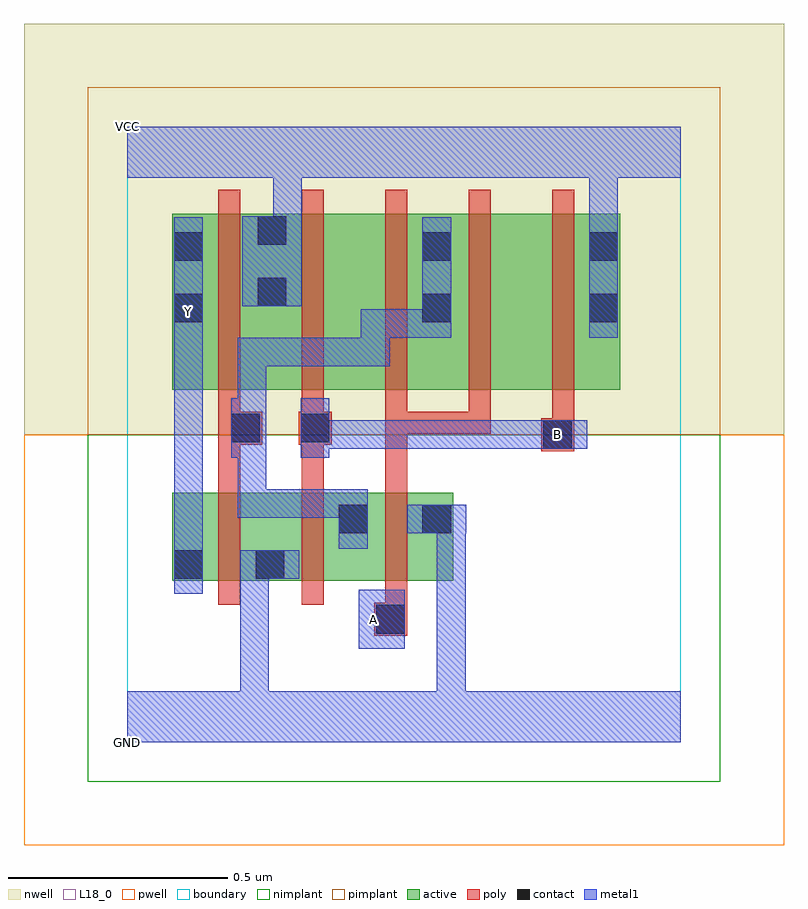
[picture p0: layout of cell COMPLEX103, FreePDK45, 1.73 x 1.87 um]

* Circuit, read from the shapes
.subckt COMPLEX103 A B GND VCC Y
M1 GND n1 Y VSUBS nfet w=0.2u l=0.05u
M2 n1 B GND VSUBS nfet w=0.2u l=0.05u
M3 GND A n1 VSUBS nfet w=0.2u l=0.05u
M4 VCC n1 Y n2 pfet w=0.4u l=0.05u
M5 n3 B VCC n2 pfet w=0.4u l=0.05u
M6 n1 A n3 n2 pfet w=0.4u l=0.05u
M7 n4 A n1 n2 pfet w=0.4u l=0.05u
M8 VCC B n4 n2 pfet w=0.4u l=0.05u
.ends

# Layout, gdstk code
import gdstk
lib = gdstk.Library(unit=1e-6, precision=1e-09)
def R(c, l, rs):  # rectangles x0, y0, x1, y1
    for r in rs: c.add(gdstk.rectangle(r[:2], r[2:], *l))
def A(c, l, x, y, w, h, nx, ny, dx, dy):  # array of equal rectangles
    R(c, l, [(x+i*dx, y+j*dy, x+i*dx+w, y+j*dy+h) for i in range(nx) for j in range(ny)])
active = (1, 0)
pwell = (2, 0)
nwell = (3, 0)
nimplant = (4, 0)
pimplant = (5, 0)
poly = (9, 0)
contact = (10, 0)
metal1 = (11, 0)
L18_0 = (18, 0)
boundary = (235, 0)

complex103 = lib.new_cell('COMPLEX103')
R(complex103, active, [(0.102,0.367,0.177,0.567), (0.102,0.367,0.362,0.567), (0.287,0.367,0.362,0.567), (0.287,0.367,0.552,0.567), (0.477,0.367,0.742,0.567), (0.477,0.367,0.552,0.545), (0.667,0.367,0.742,0.567), (0.102,0.802,0.367,1.202), (0.102,0.802,0.177,1.2), (0.292,0.802,0.517,1.202), (0.517,0.802,0.742,1.202), (0.667,0.802,0.897,1.202), (0.897,0.802,1.122,1.202), (1.047,0.802,1.122,1.165), (0.292,0.907,0.367,1.202), (0.667,0.907,0.742,1.165)])
R(complex103, pwell, [(-0.235,-0.235,1.495,0.7)])
R(complex103, nwell, [(-0.235,0.7,1.495,1.635)])
R(complex103, nimplant, [(-0.09,-0.09,1.35,0.7)])
R(complex103, pimplant, [(-0.09,0.7,1.35,1.49)])
A(complex103, poly, 0.207, 0.312, 0.05, 0.31, 3, 1, 0.19, 0)
A(complex103, poly, 0.207, 0.702, 0.05, 0.095, 4, 1, 0.19, 0)
A(complex103, poly, 0.207, 0.747, 0.05, 0.51, 5, 1, 0.19, 0)
R(complex103, poly, [(0.562,0.242,0.637,0.317), (0.587,0.267,0.637,0.362), (0.207,0.572,0.257,0.727), (0.397,0.572,0.447,0.727), (0.587,0.572,0.637,0.752), (0.942,0.662,1.017,0.737), (0.207,0.677,0.307,0.752), (0.39,0.677,0.465,0.752), (0.967,0.687,1.017,0.797), (0.587,0.702,0.827,0.752), (0.587,0.702,0.637,0.752), (0.587,0.702,0.637,0.752), (0.587,0.702,0.637,0.752), (0.777,0.702,0.827,0.752)])
R(complex103, contact, [(0.567,0.247,0.632,0.312), (0.107,0.372,0.172,0.437), (0.292,0.372,0.357,0.437), (0.482,0.475,0.547,0.54), (0.672,0.475,0.737,0.54), (0.947,0.667,1.012,0.732), (0.237,0.682,0.302,0.747), (0.395,0.682,0.46,0.747), (0.107,0.955,0.172,1.02), (0.672,0.955,0.737,1.02), (1.052,0.955,1.117,1.02), (0.297,0.992,0.362,1.057), (0.107,1.095,0.172,1.16), (0.672,1.095,0.737,1.16), (1.052,1.095,1.117,1.16), (0.297,1.132,0.362,1.197)])
R(complex103, metal1, [(0,0,1.26,0.115), (0.257,0.05,0.322,0.115), (0.257,0.05,0.322,0.115), (0.257,0.05,0.322,0.437), (0.705,0.05,0.77,0.115), (0.705,0.05,0.77,0.115), (0.705,0.05,0.77,0.115), (0.705,0.05,0.77,0.115), (0.705,0.05,0.77,0.115), (0.705,0.05,0.77,0.115), (0.705,0.05,0.77,0.54), (0.527,0.212,0.632,0.347), (0.107,0.337,0.172,0.472), (0.257,0.372,0.392,0.437), (0.257,0.372,0.322,0.437), (0.257,0.372,0.322,0.437), (0.257,0.372,0.322,0.437), (0.257,0.372,0.322,0.437), (0.107,0.407,0.172,0.977), (0.482,0.44,0.547,0.575), (0.637,0.475,0.772,0.54), (0.252,0.51,0.317,0.575), (0.252,0.51,0.455,0.575), (0.252,0.51,0.317,0.782), (0.39,0.51,0.455,0.575), (0.39,0.51,0.547,0.575), (0.237,0.647,0.302,0.782), (0.395,0.647,0.46,0.782), (0.395,0.667,0.46,0.732), (0.395,0.667,0.46,0.732), (0.395,0.667,0.632,0.732), (0.567,0.667,0.632,0.732), (0.567,0.667,0.632,0.732), (0.567,0.667,0.632,0.732), (0.567,0.667,0.77,0.732), (0.705,0.667,0.977,0.732), (0.705,0.667,0.77,0.732), (0.705,0.667,0.77,0.732), (0.705,0.667,0.77,0.732), (0.912,0.667,1.047,0.732), (0.237,0.717,0.317,0.782), (0.252,0.717,0.317,0.782), (0.252,0.717,0.317,0.92), (0.252,0.855,0.317,0.92), (0.252,0.855,0.455,0.92), (0.39,0.855,0.455,0.92), (0.39,0.855,0.455,0.92), (0.39,0.855,0.455,0.92), (0.39,0.855,0.597,0.92), (0.532,0.855,0.597,0.985), (0.107,0.912,0.172,1.047), (0.107,0.92,0.172,1.195), (0.107,0.92,0.172,0.985), (0.532,0.92,0.737,0.985), (0.672,0.92,0.737,1.195), (1.052,0.92,1.117,1.195), (0.262,0.992,0.397,1.197), (1.052,1.13,1.117,1.35), (0.332,1.132,0.397,1.35), (0,1.285,1.26,1.4)])
R(complex103, L18_0, [(0,0,1.26,0.115), (0.257,0.05,0.322,0.115), (0.257,0.05,0.322,0.115), (0.257,0.05,0.322,0.437), (0.705,0.05,0.77,0.115), (0.705,0.05,0.77,0.115), (0.705,0.05,0.77,0.115), (0.705,0.05,0.77,0.115), (0.705,0.05,0.77,0.115), (0.705,0.05,0.77,0.115), (0.705,0.05,0.77,0.54), (0.527,0.212,0.632,0.347), (0.527,0.247,0.592,0.312), (0.107,0.337,0.172,0.472), (0.257,0.372,0.322,0.437), (0.257,0.372,0.322,0.437), (0.257,0.372,0.322,0.437), (0.257,0.372,0.322,0.437), (0.257,0.372,0.392,0.437), (0.107,0.407,0.172,0.977), (0.637,0.475,0.772,0.54), (0.395,0.647,0.46,0.782), (0.395,0.667,0.46,0.732), (0.395,0.667,0.46,0.732), (0.395,0.667,0.632,0.732), (0.567,0.667,0.632,0.732), (0.567,0.667,0.632,0.732), (0.567,0.667,0.632,0.732), (0.567,0.667,0.77,0.732), (0.705,0.667,0.77,0.732), (0.705,0.667,0.77,0.732), (0.705,0.667,0.77,0.732), (0.705,0.667,0.977,0.732), (0.912,0.667,1.047,0.732), (0.947,0.667,1.012,0.732), (0.107,0.912,0.172,1.047), (0.107,0.92,0.172,1.195), (0.107,0.92,0.172,0.985), (1.052,0.92,1.117,1.195), (0.107,0.947,0.172,1.012), (0.262,0.992,0.397,1.197), (1.052,1.13,1.117,1.35), (0.332,1.132,0.397,1.35), (0,1.285,1.26,1.4)])
R(complex103, boundary, [(0,0,1.26,1.4)])
complex103.add(gdstk.Label('A', (0.56,0.28), layer=11, texttype=0))
complex103.add(gdstk.Label('B', (0.98,0.7), layer=11, texttype=0))
complex103.add(gdstk.Label('Y', (0.14,0.98), layer=11, texttype=0))
complex103.add(gdstk.Label('VCC', (0,1.4), layer=11, texttype=0))
complex103.add(gdstk.Label('GND', (0,0), layer=11, texttype=0))

lib.write_gds('COMPLEX103.gds')
